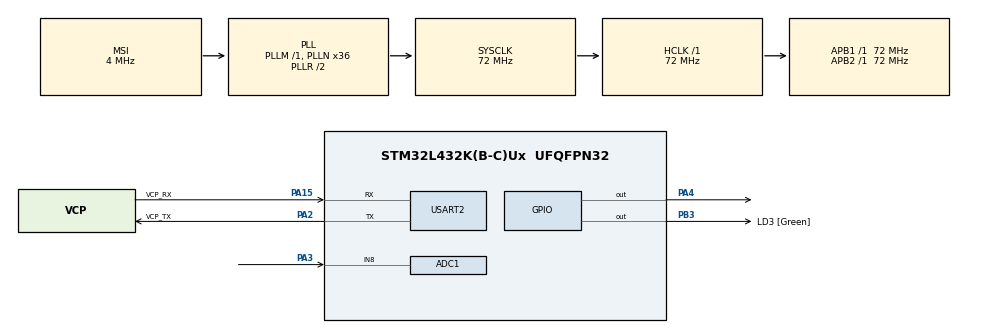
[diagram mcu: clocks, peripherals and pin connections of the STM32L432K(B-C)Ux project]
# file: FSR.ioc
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ADC1.Channel-0\#ChannelRegularConversion=ADC_CHANNEL_8
ADC1.NbrOfConversionFlag=1
ADC1.OffsetNumber-0\#ChannelRegularConversion=ADC_OFFSET_NONE
ADC1.Rank-0\#ChannelRegularConversion=1
ADC1.SamplingTime-0\#ChannelRegularConversion=ADC_SAMPLETIME_2CYCLES_5
ADC1.master=1
Mcu.Family=STM32L4
Mcu.Name=STM32L432K(B-C)Ux
Mcu.Package=UFQFPN32
NVIC.PriorityGroup=NVIC_PRIORITYGROUP_4
PA0.GPIO_Label=MCO [High speed clock in]
PA0.Mode=HSE-External-Clock-Source-for-LittleOrca
PA0.Signal=RCC_CK_IN
PA13\ (JTMS-SWDIO).GPIO_Label=SWDIO
PA13\ (JTMS-SWDIO).Mode=Serial_Wire
PA13\ (JTMS-SWDIO).Signal=SYS_JTMS-SWDIO
PA14\ (JTCK-SWCLK).GPIO_Label=SWCLK
PA14\ (JTCK-SWCLK).Mode=Serial_Wire
PA14\ (JTCK-SWCLK).Signal=SYS_JTCK-SWCLK
PA15\ (JTDI).GPIO_Label=VCP_RX
PA15\ (JTDI).Mode=Asynchronous
PA15\ (JTDI).Signal=USART2_RX
PA2.GPIO_Label=VCP_TX
PA2.Mode=Asynchronous
PA2.Signal=USART2_TX
PA3.Signal=ADCx_IN8
PA4.Signal=GPIO_Output
PB3\ (JTDO-TRACESWO).GPIO_Label=LD3 [Green]
PB3\ (JTDO-TRACESWO).Signal=GPIO_Output
PC14-OSC32_IN\ (PC14).Mode=LSE-External-Oscillator
PC14-OSC32_IN\ (PC14).Signal=RCC_OSC32_IN
PC15-OSC32_OUT\ (PC15).Mode=LSE-External-Oscillator
PC15-OSC32_OUT\ (PC15).Signal=RCC_OSC32_OUT
ProjectManager.HeapSize=0x200
ProjectManager.StackSize=0x400
ProjectManager.TargetToolchain=MDK-ARM V5.32
RCC.ADCCLockSelection=RCC_ADCCLKSOURCE_SYSCLK
RCC.ADCFreq_Value=72000000
RCC.AHBFreq_Value=72000000
RCC.APB1Freq_Value=72000000
RCC.APB1TimFreq_Value=72000000
RCC.APB2Freq_Value=72000000
RCC.APB2TimFreq_Value=72000000
RCC.CortexFreq_Value=72000000
RCC.HCLKFreq_Value=72000000
RCC.HSE_VALUE=8000000
RCC.HSI16_VALUE=16000000
RCC.HSI48_VALUE=48000000
RCC.HSI_VALUE=16000000
RCC.MSI_VALUE=4000000
RCC.PLLMUL=RCC_PLLMUL_4
RCC.PLLN=36
RCC.PLLSAI1N=16
RCC.SYSCLKFreq_VALUE=72000000
RCC.SYSCLKSource=RCC_SYSCLKSOURCE_PLLCLK
RCC.USBFreq_Value=32000000
RCC.VCOOutputFreq_Value=144000000
SH.ADCx_IN8.0=ADC1_IN8,IN8-Single-Ended
USART2.VirtualMode-Asynchronous=VM_ASYNC
board=NUCLEO-L432KC

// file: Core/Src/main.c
/* USER CODE BEGIN Header */
/**
  ******************************************************************************
  * @file           : main.c
  * @brief          : Main program body
  ******************************************************************************
  * @attention
  *
  * Copyright (c) 2023 STMicroelectronics.
  * All rights reserved.
  *
  * This software is licensed under terms that can be found in the LICENSE file
  * in the root directory of this software component.
  * If no LICENSE file comes with this software, it is provided AS-IS.
  *
  ******************************************************************************
  */
/* USER CODE END Header */
#include "main.h"

/* USER CODE BEGIN Includes */
#include "stdio.h"
/* USER CODE END Includes */

ADC_HandleTypeDef hadc1;

UART_HandleTypeDef huart2;

/* USER CODE BEGIN PV */
uint8_t alarm=0;

/* USER CODE END PV */

void SystemClock_Config(void);
static void MX_GPIO_Init(void);
static void MX_USART2_UART_Init(void);
static void MX_ADC1_Init(void);

int main(void)
{
  /* USER CODE BEGIN 1 */
    uint16_t AD_RES = 0, Vamb, DC_Multiplier, res;
	char msg[] = "\r\n Alarm ";
  /* USER CODE END 1 */

  /* MCU Configuration--------------------------------------------------------*/

  /* Reset of all peripherals, Initializes the Flash interface and the Systick. */
  HAL_Init();

  /* Configure the system clock */
  SystemClock_Config();

  /* Initialize all configured peripherals */
  MX_GPIO_Init();
  MX_USART2_UART_Init();
  MX_ADC1_Init();

  /* Infinite loop */
  /* USER CODE BEGIN WHILE */
   HAL_ADCEx_Calibration_Start(&hadc1,ADC_SINGLE_ENDED);

	HAL_ADC_Start(&hadc1);
    HAL_ADC_PollForConversion(&hadc1, 1);
    Vamb = HAL_ADC_GetValue(&hadc1);

    DC_Multiplier = 65535/(4096-Vamb);
  while (1)
  {
    if(!alarm)
			HAL_GPIO_WritePin(GPIOA, GPIO_PIN_4, GPIO_PIN_RESET);

		/* USER CODE END WHILE */

    /* USER CODE BEGIN 3 */
			HAL_ADC_Start(&hadc1);
       // Poll ADC1 Perihperal & TimeOut = 1mSec
        HAL_ADC_PollForConversion(&hadc1, 1);
       // Read The ADC Conversion Result & Map It To PWM DutyCycle
        AD_RES = HAL_ADC_GetValue(&hadc1);
				res = (AD_RES-Vamb)*DC_Multiplier;
				HAL_UART_Transmit(&huart2, (uint8_t *)msg,sizeof(msg),1000);
		char arr[5] = {0, 0, 0, 0, 0};
		if(res<3000)
			alarm=1;
		else alarm = 0;
		if(alarm)
			HAL_GPIO_TogglePin(GPIOA, GPIO_PIN_4);
		sprintf(arr, "%d\n", alarm);

				HAL_UART_Transmit(&huart2, (uint8_t *)&arr,sizeof(5),1000);
				HAL_UART_Transmit(&huart2, &alarm,1,1000);
		HAL_Delay(100);
  }
  /* USER CODE END 3 */
}

void SystemClock_Config(void)
{
  RCC_OscInitTypeDef RCC_OscInitStruct = {0};
  RCC_ClkInitTypeDef RCC_ClkInitStruct = {0};

  /** Configure the main internal regulator output voltage
  */
  if (HAL_PWREx_ControlVoltageScaling(PWR_REGULATOR_VOLTAGE_SCALE1) != HAL_OK)
  {
    Error_Handler();
  }

  /** Configure LSE Drive Capability
  */
  HAL_PWR_EnableBkUpAccess();
  __HAL_RCC_LSEDRIVE_CONFIG(RCC_LSEDRIVE_LOW);

  /** Initializes the RCC Oscillators according to the specified parameters
  * in the RCC_OscInitTypeDef structure.
  */
  RCC_OscInitStruct.OscillatorType = RCC_OSCILLATORTYPE_LSE|RCC_OSCILLATORTYPE_MSI;
  RCC_OscInitStruct.LSEState = RCC_LSE_ON;
  RCC_OscInitStruct.MSIState = RCC_MSI_ON;
  RCC_OscInitStruct.MSICalibrationValue = 0;
  RCC_OscInitStruct.MSIClockRange = RCC_MSIRANGE_6;
  RCC_OscInitStruct.PLL.PLLState = RCC_PLL_ON;
  RCC_OscInitStruct.PLL.PLLSource = RCC_PLLSOURCE_MSI;
  RCC_OscInitStruct.PLL.PLLM = 1;
  RCC_OscInitStruct.PLL.PLLN = 36;
  RCC_OscInitStruct.PLL.PLLP = RCC_PLLP_DIV7;
  RCC_OscInitStruct.PLL.PLLQ = RCC_PLLQ_DIV2;
  RCC_OscInitStruct.PLL.PLLR = RCC_PLLR_DIV2;
  if (HAL_RCC_OscConfig(&RCC_OscInitStruct) != HAL_OK)
  {
    Error_Handler();
  }

  /** Initializes the CPU, AHB and APB buses clocks
  */
  RCC_ClkInitStruct.ClockType = RCC_CLOCKTYPE_HCLK|RCC_CLOCKTYPE_SYSCLK
                              |RCC_CLOCKTYPE_PCLK1|RCC_CLOCKTYPE_PCLK2;
  RCC_ClkInitStruct.SYSCLKSource = RCC_SYSCLKSOURCE_PLLCLK;
  RCC_ClkInitStruct.AHBCLKDivider = RCC_SYSCLK_DIV1;
  RCC_ClkInitStruct.APB1CLKDivider = RCC_HCLK_DIV1;
  RCC_ClkInitStruct.APB2CLKDivider = RCC_HCLK_DIV1;

  if (HAL_RCC_ClockConfig(&RCC_ClkInitStruct, FLASH_LATENCY_4) != HAL_OK)
  {
    Error_Handler();
  }

  /** Enable MSI Auto calibration
  */
  HAL_RCCEx_EnableMSIPLLMode();
}

static void MX_ADC1_Init(void)
{

  ADC_ChannelConfTypeDef sConfig = {0};

  /** Common config
  */
  hadc1.Instance = ADC1;
  hadc1.Init.ClockPrescaler = ADC_CLOCK_ASYNC_DIV1;
  hadc1.Init.Resolution = ADC_RESOLUTION_12B;
  hadc1.Init.DataAlign = ADC_DATAALIGN_RIGHT;
  hadc1.Init.ScanConvMode = ADC_SCAN_DISABLE;
  hadc1.Init.EOCSelection = ADC_EOC_SINGLE_CONV;
  hadc1.Init.LowPowerAutoWait = DISABLE;
  hadc1.Init.ContinuousConvMode = DISABLE;
  hadc1.Init.NbrOfConversion = 1;
  hadc1.Init.DiscontinuousConvMode = DISABLE;
  hadc1.Init.ExternalTrigConv = ADC_SOFTWARE_START;
  hadc1.Init.ExternalTrigConvEdge = ADC_EXTERNALTRIGCONVEDGE_NONE;
  hadc1.Init.DMAContinuousRequests = DISABLE;
  hadc1.Init.Overrun = ADC_OVR_DATA_PRESERVED;
  hadc1.Init.OversamplingMode = DISABLE;
  if (HAL_ADC_Init(&hadc1) != HAL_OK)
  {
    Error_Handler();
  }

  /** Configure Regular Channel
  */
  sConfig.Channel = ADC_CHANNEL_8;
  sConfig.Rank = ADC_REGULAR_RANK_1;
  sConfig.SamplingTime = ADC_SAMPLETIME_2CYCLES_5;
  sConfig.SingleDiff = ADC_SINGLE_ENDED;
  sConfig.OffsetNumber = ADC_OFFSET_NONE;
  sConfig.Offset = 0;
  if (HAL_ADC_ConfigChannel(&hadc1, &sConfig) != HAL_OK)
  {
    Error_Handler();
  }

}

static void MX_USART2_UART_Init(void)
{

  huart2.Instance = USART2;
  huart2.Init.BaudRate = 115200;
  huart2.Init.WordLength = UART_WORDLENGTH_8B;
  huart2.Init.StopBits = UART_STOPBITS_1;
  huart2.Init.Parity = UART_PARITY_NONE;
  huart2.Init.Mode = UART_MODE_TX_RX;
  huart2.Init.HwFlowCtl = UART_HWCONTROL_NONE;
  huart2.Init.OverSampling = UART_OVERSAMPLING_16;
  huart2.Init.OneBitSampling = UART_ONE_BIT_SAMPLE_DISABLE;
  huart2.AdvancedInit.AdvFeatureInit = UART_ADVFEATURE_NO_INIT;
  if (HAL_UART_Init(&huart2) != HAL_OK)
  {
    Error_Handler();
  }

}

static void MX_GPIO_Init(void)
{
  GPIO_InitTypeDef GPIO_InitStruct = {0};

  /* GPIO Ports Clock Enable */
  __HAL_RCC_GPIOC_CLK_ENABLE();
  __HAL_RCC_GPIOA_CLK_ENABLE();
  __HAL_RCC_GPIOB_CLK_ENABLE();

  /*Configure GPIO pin Output Level */
  HAL_GPIO_WritePin(GPIOA, GPIO_PIN_4, GPIO_PIN_RESET);

  /*Configure GPIO pin Output Level */
  HAL_GPIO_WritePin(LD3_GPIO_Port, LD3_Pin, GPIO_PIN_RESET);

  /*Configure GPIO pin : PA4 */
  GPIO_InitStruct.Pin = GPIO_PIN_4;
  GPIO_InitStruct.Mode = GPIO_MODE_OUTPUT_PP;
  GPIO_InitStruct.Pull = GPIO_NOPULL;
  GPIO_InitStruct.Speed = GPIO_SPEED_FREQ_LOW;
  HAL_GPIO_Init(GPIOA, &GPIO_InitStruct);

  /*Configure GPIO pin : LD3_Pin */
  GPIO_InitStruct.Pin = LD3_Pin;
  GPIO_InitStruct.Mode = GPIO_MODE_OUTPUT_PP;
  GPIO_InitStruct.Pull = GPIO_NOPULL;
  GPIO_InitStruct.Speed = GPIO_SPEED_FREQ_LOW;
  HAL_GPIO_Init(LD3_GPIO_Port, &GPIO_InitStruct);

}

void Error_Handler(void)
{
  __disable_irq();
  while (1)
  {
  }
}
